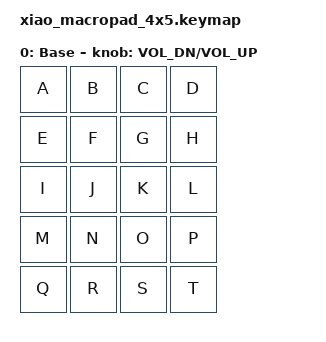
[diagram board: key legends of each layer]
#include <behaviors.dtsi>
#include <dt-bindings/zmk/bt.h>
#include <dt-bindings/zmk/keys.h>

/ {
    keymap {
        compatible = "zmk,keymap";

        default_layer {
            display-name = "Base";
            bindings = <
                &kp A &kp B &kp C &kp D
                &kp E &kp F &kp G &kp H
                &kp I &kp J &kp K &kp L
                &kp M &kp N &kp O &kp P
                &kp Q &kp R &kp S &kp T
            >;
            sensor-bindings = <&inc_dec_kp C_VOL_DN C_VOL_UP>;
        };
    };
};
